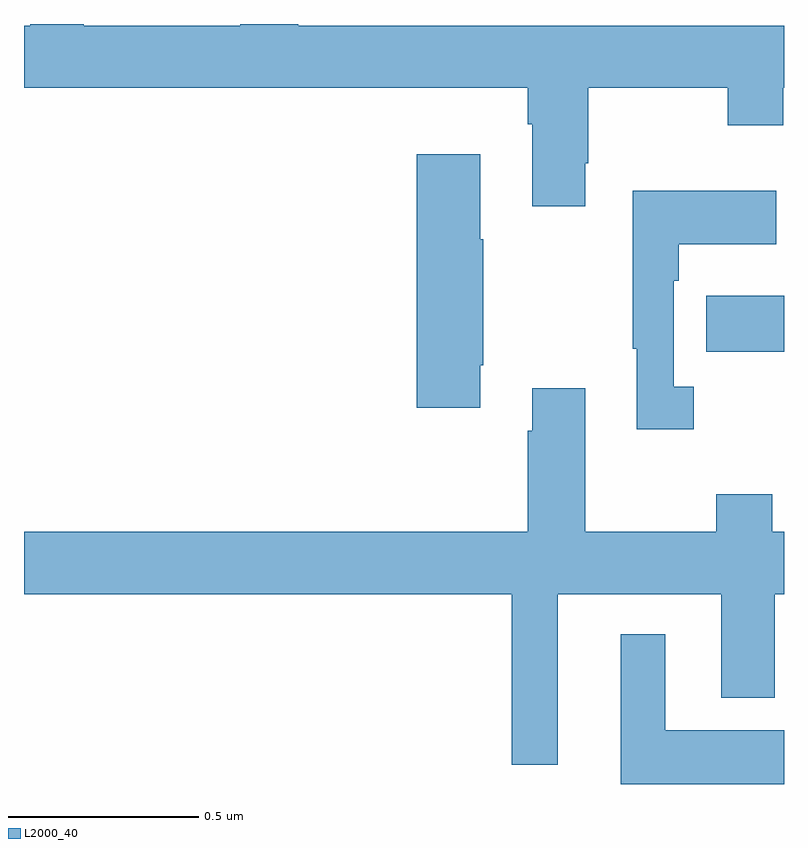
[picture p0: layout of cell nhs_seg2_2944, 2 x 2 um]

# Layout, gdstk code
import gdstk
lib = gdstk.Library(unit=1e-6, precision=1e-09)
def R(c, l, rs):  # rectangles x0, y0, x1, y1
    for r in rs: c.add(gdstk.rectangle(r[:2], r[2:], *l))
def P(c, l, *ps):  # polygons
    for p in ps: c.add(gdstk.Polygon(p, *l))
L2000_40 = (2000, 40)

nhs_seg2_2944 = lib.new_cell('nhs_seg2_2944')
R(nhs_seg2_2944, L2000_40, [(148.795,650.938,149,651.085)])
P(nhs_seg2_2944, L2000_40, [(148.477,651.433),(148.485,651.433),(148.485,651.632),(148.852,651.632),(148.852,651.533),(148.998,651.533),(148.998,651.632),(149,651.632),(149,651.796),(147.722,651.796),(147.722,651.8),(147.569,651.8),(147.569,651.796),(147.157,651.796),(147.157,651.8),(147.017,651.8),(147.017,651.796),(147,651.796),(147,651.632),(148.325,651.632),(148.325,651.536),(148.337,651.536),(148.337,651.321),(148.477,651.321)],
  [(148.201,650.902),(148.209,650.902),(148.209,651.233),(148.201,651.233),(148.201,651.457),(148.034,651.457),(148.034,650.79),(148.201,650.79)],
  [(148.762,650.846),(148.71,650.846),(148.71,651.125),(148.723,651.125),(148.723,651.221),(148.979,651.221),(148.979,651.361),(148.602,651.361),(148.602,650.945),(148.613,650.945),(148.613,650.733),(148.762,650.733)],
  [(148.405,650.3),(148.835,650.3),(148.835,650.027),(148.975,650.027),(148.975,650.3),(149,650.3),(149,650.464),(148.969,650.464),(148.969,650.563),(148.822,650.563),(148.822,650.464),(148.477,650.464),(148.477,650.842),(148.337,650.842),(148.337,650.729),(148.325,650.729),(148.325,650.464),(147,650.464),(147,650.3),(148.284,650.3),(148.284,649.851),(148.405,649.851)],
  [(149,649.942),(148.687,649.942),(148.687,650.194),(148.571,650.194),(148.571,649.8),(149,649.8)])

lib.write_gds('nhs_seg2_2944.gds')
